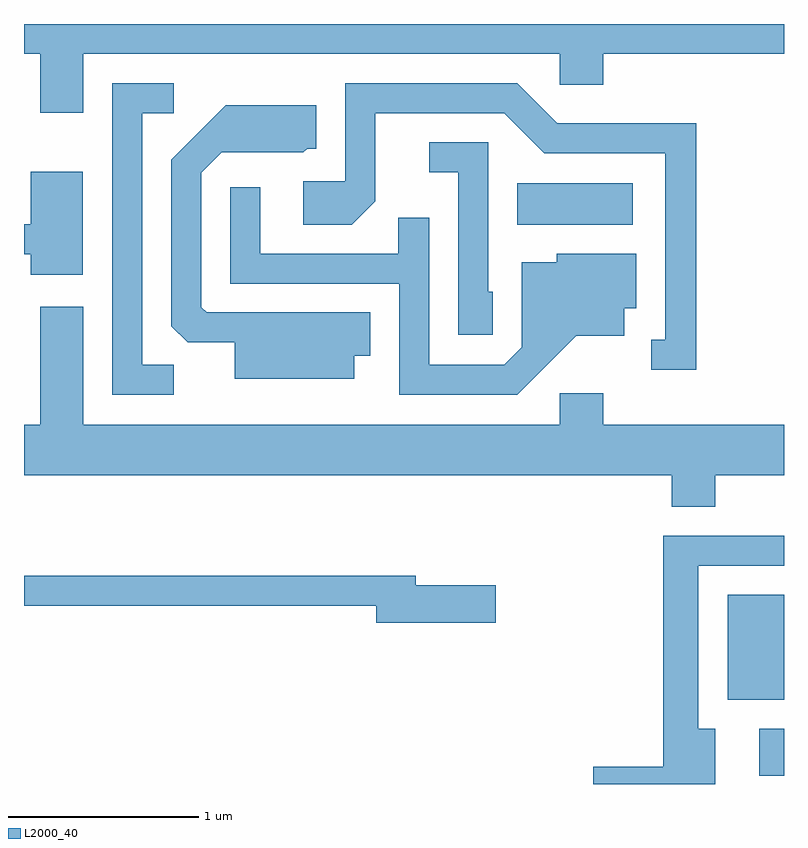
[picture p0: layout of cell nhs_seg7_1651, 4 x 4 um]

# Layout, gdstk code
import gdstk
lib = gdstk.Library(unit=1e-6, precision=1e-09)
def R(c, l, rs):  # rectangles x0, y0, x1, y1
    for r in rs: c.add(gdstk.rectangle(r[:2], r[2:], *l))
def P(c, l, *ps):  # polygons
    for p in ps: c.add(gdstk.Polygon(p, *l))
L2000_40 = (2000, 40)

nhs_seg7_1651 = lib.new_cell('nhs_seg7_1651')
R(nhs_seg7_1651, L2000_40, [(239.481,1708.296,239.611,1708.544), (239.316,1708.696,239.611,1709.249), (238.206,1711.196,238.814,1711.414)])
P(nhs_seg7_1651, L2000_40, [(235.924,1712.096),(238.431,1712.096),(238.431,1711.931),(238.659,1711.931),(238.659,1712.096),(239.611,1712.096),(239.611,1712.252),(235.611,1712.252),(235.611,1712.096),(235.696,1712.096),(235.696,1711.786),(235.924,1711.786)],
  [(239.149,1711.729),(238.417,1711.729),(238.207,1711.939),(237.301,1711.939),(237.301,1711.424),(237.081,1711.424),(237.081,1711.196),(237.337,1711.196),(237.459,1711.319),(237.459,1711.781),(238.139,1711.781),(238.349,1711.571),(238.986,1711.571),(238.986,1710.589),(238.913,1710.589),(238.913,1710.431),(239.149,1710.431)],
  [(236.398,1710.459),(236.234,1710.459),(236.234,1711.781),(236.398,1711.781),(236.398,1711.939),(236.076,1711.939),(236.076,1710.301),(236.398,1710.301)],
  [(237.349,1710.506),(237.434,1710.506),(237.434,1710.734),(236.572,1710.734),(236.544,1710.762),(236.544,1711.469),(236.652,1711.576),(237.082,1711.576),(237.102,1711.596),(237.149,1711.596),(237.149,1711.824),(236.674,1711.824),(236.386,1711.537),(236.386,1710.662),(236.472,1710.576),(236.721,1710.576),(236.721,1710.386),(237.349,1710.386)],
  [(238.079,1710.844),(238.054,1710.844),(238.054,1711.629),(237.743,1711.629),(237.743,1711.471),(237.896,1711.471),(237.896,1710.616),(238.079,1710.616)],
  [(235.919,1711.474),(235.646,1711.474),(235.646,1711.199),(235.611,1711.199),(235.611,1711.041),(235.646,1711.041),(235.646,1710.931),(235.919,1710.931)],
  [(238.517,1710.611),(238.769,1710.611),(238.769,1710.756),(238.834,1710.756),(238.834,1711.044),(238.416,1711.044),(238.416,1710.999),(238.231,1710.999),(238.231,1710.552),(238.139,1710.459),(237.744,1710.459),(237.744,1711.233),(237.581,1711.233),(237.581,1711.044),(236.854,1711.044),(236.854,1711.393),(236.696,1711.393),(236.696,1710.886),(237.586,1710.886),(237.586,1710.301),(238.207,1710.301)],
  [(239.249,1709.876),(239.611,1709.876),(239.611,1710.144),(238.659,1710.144),(238.659,1710.309),(238.431,1710.309),(238.431,1710.144),(235.924,1710.144),(235.924,1710.764),(235.696,1710.764),(235.696,1710.144),(235.611,1710.144),(235.611,1709.876),(239.021,1709.876),(239.021,1709.711),(239.249,1709.711)],
  [(239.249,1708.544),(239.159,1708.544),(239.159,1709.401),(239.611,1709.401),(239.611,1709.559),(238.976,1709.559),(238.976,1708.344),(238.606,1708.344),(238.606,1708.252),(239.249,1708.252)],
  [(238.094,1709.299),(237.674,1709.299),(237.674,1709.349),(235.611,1709.349),(235.611,1709.191),(237.466,1709.191),(237.466,1709.101),(238.094,1709.101)])

lib.write_gds('nhs_seg7_1651.gds')
